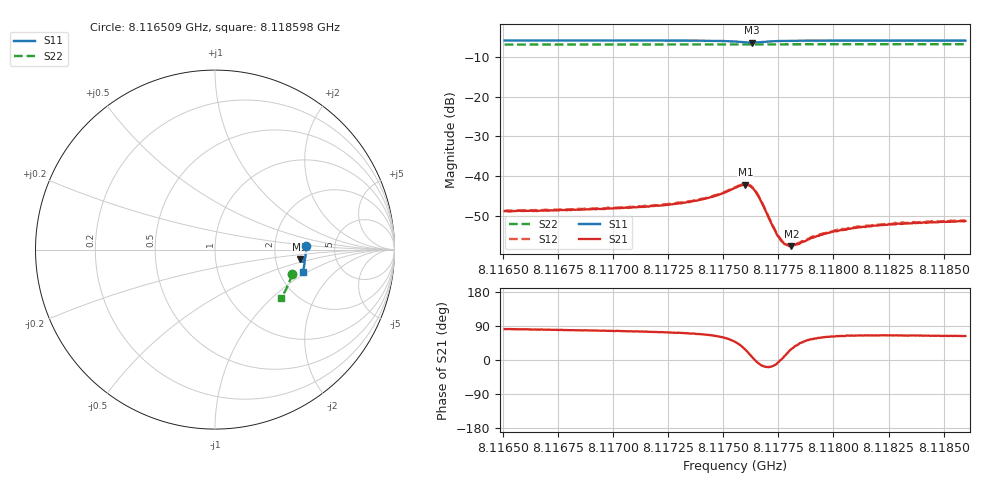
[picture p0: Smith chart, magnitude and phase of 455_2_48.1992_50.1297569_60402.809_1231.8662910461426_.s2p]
#  HZ  S  RI  R  50.00
! Rohde & Schwarz Vector Network Analyzer
! Rohde-Schwarz,ZNB20-2Port,1311601062101988,3.16
! Created: UTC 3/20/2024, 11:56:30 AM
! freq[Hz]  re:S11  im:S11  re:S21  im:S21  re:S12  im:S12  re:S22  im:S22
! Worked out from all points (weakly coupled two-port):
!   401 points, 8.116509 GHz to 8.118598 GHz, reference 50 ohm
!   highest |S21| = -42.17 dB at 8.1176 GHz (marker M1); lowest = -57.6 dB at 8.117809 GHz (marker M2)
!   lowest |S11| = -6.4 dB at 8.117632 GHz (marker M3), VSWR 2.82, Z = 138 - j19.4 ohm
!   |S11| at or under -10 dB: nowhere
!   |S22| runs from -6.9 to -6.8 dB; largest |S21 - S12| = 0.00022
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8.1165086e9  0.5069 0.0211  0.000525 0.00358  0.000547 0.00364  0.4293 -0.1357
8.1168586e9  0.5066 -0.00578  0.000759 0.00373  0.000831 0.00377  0.4222 -0.1589
8.1172086e9  0.5046 -0.0338  0.00122 0.00407  0.00126 0.00418  0.4139 -0.1819
8.1173184e9  0.5031 -0.0433  0.00149 0.00438  0.00155 0.00443  0.4109 -0.189
8.1174124e9  0.5006 -0.0523  0.00199 0.00477  0.00206 0.0048  0.4083 -0.1951
8.1174751e9  0.4974 -0.0592  0.00267 0.00509  0.00274 0.00521  0.4064 -0.1992
8.1175534e9  0.4874 -0.0671  0.00477 0.00529  0.00487 0.00535  0.4037 -0.2042
8.1176005e9  0.476 -0.0643  0.00692 0.00359  0.00713 0.00364  0.4019 -0.2068
8.1176161e9  0.4732 -0.06  0.00726 0.0023  0.00745 0.0023  0.4014 -0.2075
8.1176318e9  0.4731 -0.0545  0.00705 0.000911  0.00723 0.000904  0.4011 -0.2082
8.1176632e9  0.4799 -0.047  0.00526 -0.000944  0.00532 -0.00103  0.4005 -0.2097
8.1177311e9  0.4943 -0.0516  0.00211 -0.000526  0.00213 -0.00054  0.3991 -0.2142
8.117752e9  0.4961 -0.0546  0.0017 -0.000154  0.00173 -0.000151  0.3986 -0.2157
8.1177676e9  0.4971 -0.0568  0.00149 0.000103  0.00154 6.55e-05  0.3981 -0.2168
8.1177833e9  0.4978 -0.0588  0.00135 0.000311  0.00138 0.00032  0.3976 -0.2178
8.1178094e9  0.4985 -0.062  0.00115 0.00063  0.00122 0.000645  0.3968 -0.2194
8.1178408e9  0.4989 -0.0658  0.00105 0.000917  0.00107 0.000975  0.3958 -0.2215
8.1179035e9  0.4992 -0.0722  0.000951 0.00137  0.00101 0.00139  0.3938 -0.2255
8.1180289e9  0.498 -0.0835  0.000931 0.00186  0.000974 0.00189  0.3898 -0.2334
8.1181281e9  0.4969 -0.0918  0.000961 0.00206  0.001 0.0021  0.3865 -0.2394
8.1182535e9  0.4951 -0.1016  0.00103 0.00223  0.0011 0.00226  0.382 -0.2473
8.1185983e9  0.489 -0.1275  0.00122 0.00243  0.00126 0.00248  0.3689 -0.2677
